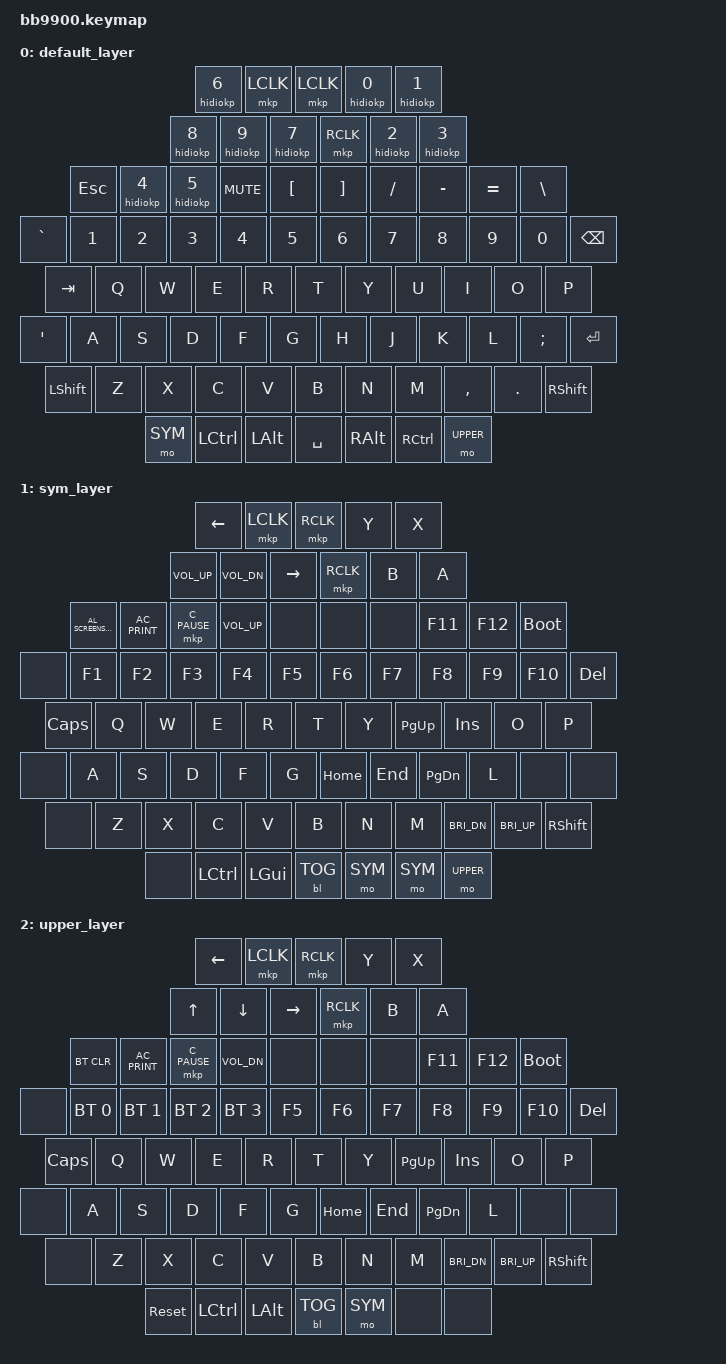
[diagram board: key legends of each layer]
/*
 * Copyright (c) 2023 ZitaoTech
 *
 * SPDX-License-Identifier: MIT
 */
   
#include <behaviors.dtsi>
#include <dt-bindings/zmk/keys.h>
#include <dt-bindings/zmk/bt.h>
#include <dt-bindings/zmk/outputs.h>
#include <dt-bindings/zmk/mouse.h>
#include <dt-bindings/zmk/backlight.h>
#include <dt-bindings/zmk/ext_power.h>

#define SYM 1
#define UPPER 2
#define HID_IO_USAGE_FWD_TO_JOYSTICK 2

 


/ {
    behaviors {
        td0: tap_dance_0 {
            compatible = "zmk,behavior-tap-dance";
            #binding-cells = <0>;
            tapping-term-ms = <400>;
            bindings = <&mkp LCLK>, <&bt BT_CLR>;
        };
    };
    behaviors {
        hm: homerow_mods {
            compatible = "zmk,behavior-hold-tap";
            #binding-cells = <2>;
            tapping-term-ms = <500>;
            bindings = <&out &kp>;
        };
    };
    behaviors {
        hidiokp: hid_io_key_press {
            compatible = "zmk,behavior-hid-io-key-press";
            #binding-cells = <1>;
        };
    };

    keymap {
        compatible = "zmk,keymap";

        default_layer {

            bindings = <
//---------------------------------------------------------------------------------------------------------
// |  ←  | ↑   | ↓   | →   |  Mleft  |  Mright |  Trackpad    |  Y  |  B  |  X  |  A  |                                       
// |  ESC   |  SELECT  | Start |                 voive  |   [  |  ]  |   /  |  -  |  =  |  \  |
// |   ~   |  1  |  2  |  3  |  4  |  5  |  6  |  7  |  8  |  9  |  0  |  Backspace  |
// |   TAB   |  Q  |  W  |  E  |  R  |  T  |  Y  |  U  |  I  |  O  |  P  | 
// |    '      |  A  |  S  |  D  |  F  |  G  |  H  |  J  |  K  |  L  |  ;  |     ENTER   |  
// |  LShift  |  Z  |  X  |  C  |  V  |  B  |  N  |  M  |  <  |  >  |  ;  |  RShift  |  
//        |  Fn  |  LCtrl  |  Alt   |      SPACE      |   Alt   |  RCtrl   |  Fn   |  
//        -----------------------------------------------------------------------------------------------------------------
            &hidiokp 6                     &mkp LCLK         &mkp LCLK      &hidiokp 0   &hidiokp 1 
&hidiokp 8   &hidiokp 9 &hidiokp 7               &mkp RCLK                       &hidiokp 2      &hidiokp 3
&kp ESC    &hidiokp 4  &hidiokp 5 &kp K_MUTE    &kp LBKT   &kp RBKT   &kp FSLH   &kp MINUS  &kp  EQUAL &kp BACKSLASH                                                                                  
&kp GRAVE  &kp N1        &kp N2     &kp N3   &kp N4     &kp N5     &kp N6     &kp N7     &kp N8    &kp N9  &kp N0 &kp BSPC
&kp TAB     &kp Q         &kp W      &kp E    &kp R      &kp T      &kp Y      &kp U      &kp I     &kp O   &kp P
&kp SQT     &kp A         &kp S      &kp D    &kp F      &kp G      &kp H      &kp J      &kp K     &kp L   &kp SEMICOLON &kp ENTER        
&kp LSHFT   &kp Z         &kp X      &kp C    &kp V      &kp B      &kp N      &kp M      &kp COMMA &kp DOT &kp RSHFT
  &mo SYM   &kp LCTRL               &kp LALT              &kp SPACE           &kp RALT         &kp RCTRL     &mo UPPER        
            >;
        };


        sym_layer {

            bindings = <
        &kp LEFT                      &mkp LCLK         &mkp RCLK      &kp Y   &kp X 
&kp K_VOL_UP   &kp K_VOL_DN &kp RIGHT               &mkp RCLK                       &kp  B      &kp A
&kp C_AL_SCREENSAVER  &kp C_AC_PRINT &mkp C_PAUSE  &kp K_VOL_UP &none   &none   &none   &kp F11    &kp F12   &bootloader                                                                                   
&none    &kp F1         &kp F2        &kp F3     &kp F4     &kp F5     &kp F6     &kp F7     &kp F8    &kp F9  &kp F10 &kp DEL
&kp CAPSLOCK    &kp Q          &kp W         &kp E      &kp R      &kp T      &kp Y      &kp PAGE_UP      &kp INSERT     &kp O   &kp P
&none    &kp A          &kp S         &kp D      &kp F      &kp G      &kp HOME      &kp END      &kp PAGE_DOWN     &kp L   &none &none         
&none    &kp Z          &kp X         &kp C      &kp V      &kp B      &kp N      &kp M      &kp C_BRI_DN &kp C_BRI_UP &kp RSHFT
  &none  &kp LCTRL               &kp LGUI             &bl BL_TOG           &mo SYM         &mo SYM     &mo UPPER           

            >;
        };


        upper_layer {

            bindings = <
        &kp LEFT                      &mkp LCLK         &mkp RCLK      &kp Y   &kp X 
&kp UP   &kp DOWN &kp RIGHT               &mkp RCLK                       &kp  B      &kp A
&bt BT_CLR  &kp C_AC_PRINT &mkp C_PAUSE  &kp K_VOL_DN &none   &none   &none   &kp F11    &kp F12   &bootloader                                                                                   
&none     &bt BT_SEL 0          &bt BT_SEL 1         &bt BT_SEL 2      &bt BT_SEL 3     &kp F5     &kp F6     &kp F7     &kp F8    &kp F9  &kp F10 &kp DEL
&kp CAPSLOCK    &kp Q          &kp W         &kp E      &kp R      &kp T      &kp Y      &kp PAGE_UP      &kp INSERT     &kp O   &kp P
&none    &kp A          &kp S         &kp D      &kp F      &kp G      &kp HOME      &kp END      &kp PAGE_DOWN     &kp L   &none &none         
&none    &kp Z          &kp X         &kp C      &kp V      &kp B      &kp N      &kp M      &kp C_BRI_DN &kp C_BRI_UP &kp RSHFT
  &sys_reset  &kp LCTRL               &kp LALT             &bl BL_TOG           &mo SYM         &none     &none           

            >;
        };

    };
};

